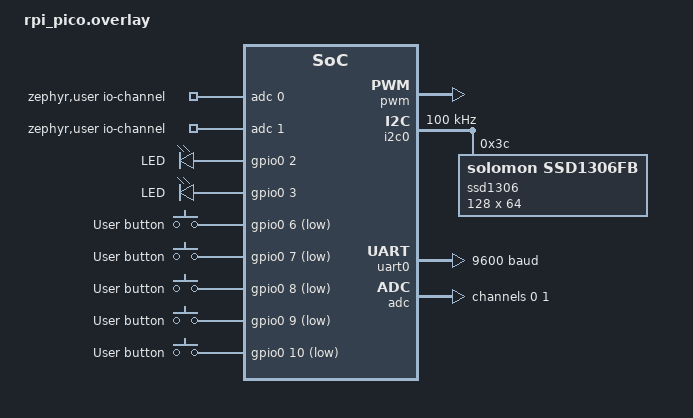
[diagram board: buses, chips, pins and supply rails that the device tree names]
#include "rpi_pico-pinctrl.dtsi"
#include <zephyr/dt-bindings/adc/adc.h>


/ {
	zephyr,user {
		io-channels = <&adc 0>, <&adc 1>;
	};

	pwm_leds {
		compatible = "pwm-leds";
		status = "disabled";
		pwm_led1: pwm_led_1 {
			pwms = <&pwm 14 PWM_MSEC(20) PWM_POLARITY_NORMAL>;
			label = "PWM_LED";
		};
		pwm_led2: pwm_led_2 {
			pwms = <&pwm 15 PWM_MSEC(20) PWM_POLARITY_NORMAL>;
			label = "PWM_LED";
		};
		pwm_led3: pwm_led_3 {
			pwms = <&pwm 6 PWM_MSEC(20) PWM_POLARITY_NORMAL>;
			label = "PWM_LED";
		};
	};

	leds {
		compatible = "gpio-leds";
		led1: led_1 {
			gpios = <&gpio0 2 GPIO_ACTIVE_HIGH>;
			label = "LED";
		};
		led2: led_2 {
			gpios = <&gpio0 3 GPIO_ACTIVE_HIGH>;
			label = "LED";
		};
	};

	buttons {
             compatible = "gpio-keys";
             button0: button_0 {
                     gpios = < &gpio0 6 (GPIO_PULL_UP | GPIO_ACTIVE_LOW)>;
                     label = "User button";
             };
			  button1: button_1 {
                     gpios = < &gpio0 7 (GPIO_PULL_UP | GPIO_ACTIVE_LOW)>;
                     label = "User button";
             };
			  button2: button_2 {
                     gpios = < &gpio0 8 (GPIO_PULL_UP | GPIO_ACTIVE_LOW)>;
                     label = "User button";
             };
			  button3: button_3 {
                     gpios = < &gpio0 9 (GPIO_PULL_UP | GPIO_ACTIVE_LOW)>;
                     label = "User button";
             };
			  button4: button_4 {
                     gpios = < &gpio0 10 (GPIO_PULL_UP | GPIO_ACTIVE_LOW)>;
                     label = "User button";
             };
             
     };

	aliases {
		led1 = &led1;
		led2 = &led2;
		pwm-led1 = &pwm_led1;
		pwm-led2 = &pwm_led2;
		pwm-led3 = &pwm_led3;
		sw0 = &button0;
		sw1 = &button1;
		sw2 = &button2;
		sw3 = &button3;
		sw4 = &button4;
	};

};


&pwm_led1 {
	status = "okay";
};
&pwm_led2 {
	status = "okay";
};
&pwm_led3 {
	status = "okay";
};


&pwm {
	status = "okay";

	pinctrl-0 = <&pwm_ch4b_default>;

	// for pwm chanel 3 A and B

	divider-frac-3 = <15>;
	divider-int-3 = <255>;
	
	// for pwm chanel 4 A and B
	
	// divider-frac-4 = <15>;
	// divider-int-4 = <255>;

	// for pwm chanel 7 A and B
	
	divider-frac-7 = <15>;
	divider-int-7 = <255>;
};

&i2c0 {
	clock-frequency = <I2C_BITRATE_STANDARD>;
	status = "okay";
	pinctrl-0 = <&i2c0_default>;
	pinctrl-names = "default";

	ssd1306: ssd1306@3c {
      		compatible = "solomon,ssd1306fb";
	       reg = <0x3c>;
	       height = <64>;
	       width = <128>;
	       segment-offset = <0>;
	       page-offset = <0>;
	       display-offset = <0>;
	       multiplex-ratio = <63>;
	       prechargep = <0x22>;
	       com-invdir;
	       segment-remap;
      };
};


pio1_uart0: &uart0 {
	current-speed = <9600>;
	status = "okay";
	pinctrl-0 = <&uart0_default>;
	pinctrl-names = "default";
};

&adc {
	#address-cells = <1>;
	#size-cells = <0>;

	channel@0 {
		reg = <0>;
		zephyr,gain = "ADC_GAIN_1";
		zephyr,reference = "ADC_REF_INTERNAL";
		zephyr,acquisition-time = <ADC_ACQ_TIME_DEFAULT>;
		zephyr,resolution = <12>;
	};
	
	channel@1 {
		reg = <1>;
		zephyr,gain = "ADC_GAIN_1";
		zephyr,reference = "ADC_REF_INTERNAL";
		zephyr,acquisition-time = <ADC_ACQ_TIME_DEFAULT>;
		zephyr,resolution = <12>;
	};

};
